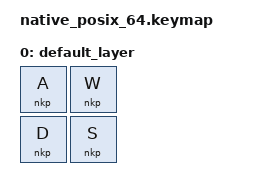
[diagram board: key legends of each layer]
#include <dt-bindings/zmk/keys.h>
#include <behaviors.dtsi>
#include <behaviors/non_overlap.dtsi>
#include <dt-bindings/zmk/kscan_mock.h>

/*
 * Press in sequence WASD, then release backward DSAW.
 * Non-overlap keys that remain pressed should be resumed in the correct order.
 */

&nkp {
    resume-capacity = <3>;
};

/ {
    keymap {
        compatible = "zmk,keymap";

        default_layer {
            bindings = <
                &nkp A &nkp W
                &nkp D &nkp S>;
        };
    };
};

&kscan {
    events = <
        ZMK_MOCK_PRESS(0,1,10)   // W
        ZMK_MOCK_PRESS(0,0,10)   // A
        ZMK_MOCK_PRESS(1,1,10)   // S
        ZMK_MOCK_PRESS(1,0,10)   // D
        ZMK_MOCK_RELEASE(1,0,10) // D
        ZMK_MOCK_RELEASE(1,1,10) // S
        ZMK_MOCK_RELEASE(0,0,10) // A
        ZMK_MOCK_RELEASE(0,1,10) // W
    >;
};
